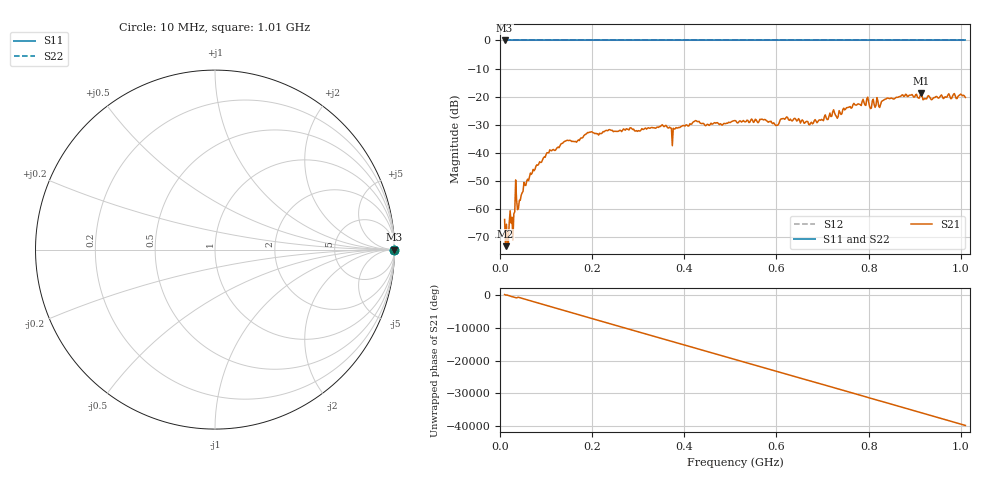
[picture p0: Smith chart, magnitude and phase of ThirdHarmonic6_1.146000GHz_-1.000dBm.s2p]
! 8/16/2025 11:19:36 AM
! C:\ANRITSUVNA\TEMP\TEMP.S2P
! CHANNEL.1
! TR.MEASUREMENT
! RAW.DATA
! RF.CORRECTION.OFF
! AVERAGING.OFF
! IF.BANDWIDTH: 5KHZ
! SWEEPTYPE:  FREQ.SWEEP(Linear)
! Reference Plane Port Info
! PORT:  PORT1  PORT2
! DISTANCE:  0  m  0  m
! TIME:  0  s  0  s
! PHASE.OFFSET:  0  deg.  0  deg.
! LOSS:  0  dB  0  dB
! REF.LOSS:  0  dB  0  dB
! REF.FREQ:  0  Hz  0  Hz
! Power Info
! POWER:  -20  dBm  -20  dBm
! EFF.POWER:  -20  dBm  -20  dBm
! SOURCE.ATTEN:  0  dB  0  dB
! TEST.ATTEN:  0  dB  0  dB
# GHZ S RI R 50.0
! FREQ.GHZ  S11RE  S11IM  S21RE  S21IM  S12RE  S12IM  S22RE  S22IM
!; PortSelection: Port_12
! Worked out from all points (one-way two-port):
!   501 points, 10 MHz to 1.01 GHz, reference 50 ohm
!   highest |S21| = -18.67 dB at 914 MHz (marker M1); lowest = -73.2 dB at 12 MHz (marker M2)
!   lowest |S11| = 0.0 dB at 10 MHz (marker M3)
!   |S11| at or under -10 dB: nowhere
!   |S22| runs from 0.0 to 0.0 dB; largest |S21 - S12| = 1.1
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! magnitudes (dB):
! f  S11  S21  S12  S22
! 10 MHz  0.0  -63.7  0.0  0.0
! 12 MHz  0.0  -73.2  0.0  0.0
! 16 MHz  0.0  -71.9  0.0  0.0
! 22 MHz  0.0  -60.6  0.0  0.0
! 28 MHz  0.0  -71.1  0.0  0.0
! 34 MHz  0.0  -49.6  0.0  0.0
! 42 MHz  0.0  -56.9  0.0  0.0
! 56 MHz  0.0  -51.6  0.0  0.0
! 82 MHz  0.0  -44.4  0.0  0.0
! 142 MHz  0.0  -35.8  0.0  0.0
! 178 MHz  0.0  -34.7  0.0  0.0
! 194 MHz  0.0  -32.7  0.0  0.0
! 344 MHz  0.0  -30.9  0.0  0.0
! 376 MHz  0.0  -31.2  0.0  0.0
! 424 MHz  0.0  -28.5  0.0  0.0
! 510 MHz  0.0  -28.5  0.0  0.0
! 678 MHz  0.0  -29.7  0.0  0.0
! 770 MHz  0.0  -22.8  0.0  0.0
! 826 MHz  0.0  -22.8  0.0  0.0
! 844 MHz  0.0  -20.6  0.0  0.0
! 914 MHz  0.0  -18.7  0.0  0.0
! 1.01 GHz  0.0  -20.3  0.0  0.0
